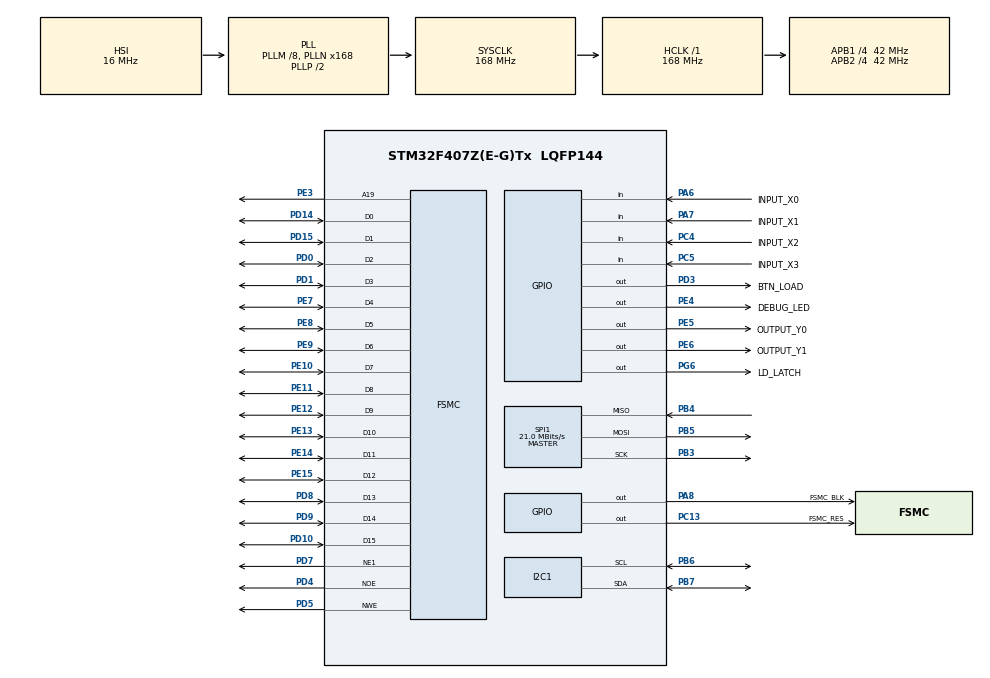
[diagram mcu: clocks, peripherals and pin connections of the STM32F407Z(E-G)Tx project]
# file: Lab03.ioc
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FSMC.AddressSetupTime1=0xf
FSMC.BusTurnAroundDuration1=0
FSMC.DataSetupTime1=60
FSMC.ExtendedAddressSetupTime1=8
FSMC.ExtendedBusTurnAroundDuration1=0
FSMC.ExtendedDataSetupTime1=9
FSMC.ExtendedMode1=FSMC_EXTENDED_MODE_ENABLE
Mcu.Family=STM32F4
Mcu.Name=STM32F407Z(E-G)Tx
Mcu.Package=LQFP144
NVIC.PriorityGroup=NVIC_PRIORITYGROUP_4
NVIC.TIM2_IRQn=true\:0\:0\:false\:false\:true\:true\:true
PA13.Mode=Serial_Wire
PA13.Signal=SYS_JTMS-SWDIO
PA14.Mode=Serial_Wire
PA14.Signal=SYS_JTCK-SWCLK
PA6.GPIO_Label=INPUT_X0
PA6.Signal=GPIO_Input
PA7.GPIO_Label=INPUT_X1
PA7.Signal=GPIO_Input
PA8.GPIO_Label=FSMC_BLK
PA8.Signal=GPIO_Output
PB3.Mode=Full_Duplex_Master
PB3.Signal=SPI1_SCK
PB4.Mode=Full_Duplex_Master
PB4.Signal=SPI1_MISO
PB5.Mode=Full_Duplex_Master
PB5.Signal=SPI1_MOSI
PB6.Mode=I2C
PB6.Signal=I2C1_SCL
PB7.Mode=I2C
PB7.Signal=I2C1_SDA
PC13-ANTI_TAMP.GPIO_Label=FSMC_RES
PC13-ANTI_TAMP.Signal=GPIO_Output
PC4.GPIO_Label=INPUT_X2
PC4.Signal=GPIO_Input
PC5.GPIO_Label=INPUT_X3
PC5.Signal=GPIO_Input
PD0.Signal=FSMC_D2_DA2
PD1.Signal=FSMC_D3_DA3
PD10.Signal=FSMC_D15_DA15
PD14.Signal=FSMC_D0_DA0
PD15.Signal=FSMC_D1_DA1
PD3.GPIO_Label=BTN_LOAD
PD3.Signal=GPIO_Output
PD4.Signal=FSMC_NOE
PD5.Signal=FSMC_NWE
PD7.Mode=NorPsramChipSelect1_1
PD7.Signal=FSMC_NE1
PD8.Signal=FSMC_D13_DA13
PD9.Signal=FSMC_D14_DA14
PE10.Signal=FSMC_D7_DA7
PE11.Signal=FSMC_D8_DA8
PE12.Signal=FSMC_D9_DA9
PE13.Signal=FSMC_D10_DA10
PE14.Signal=FSMC_D11_DA11
PE15.Signal=FSMC_D12_DA12
PE3.Signal=FSMC_A19
PE4.GPIO_Label=DEBUG_LED
PE4.Signal=GPIO_Output
PE5.GPIO_Label=OUTPUT_Y0
PE5.Signal=GPIO_Output
PE6.GPIO_Label=OUTPUT_Y1
PE6.Signal=GPIO_Output
PE7.Signal=FSMC_D4_DA4
PE8.Signal=FSMC_D5_DA5
PE9.Signal=FSMC_D6_DA6
PG6.GPIO_Label=LD_LATCH
PG6.Signal=GPIO_Output
PH0-OSC_IN.Mode=HSE-External-Oscillator
PH0-OSC_IN.Signal=RCC_OSC_IN
PH1-OSC_OUT.Mode=HSE-External-Oscillator
PH1-OSC_OUT.Signal=RCC_OSC_OUT
ProjectManager.HeapSize=0x200
ProjectManager.StackSize=0x400
ProjectManager.TargetToolchain=STM32CubeIDE
RCC.48MHZClocksFreq_Value=84000000
RCC.AHBFreq_Value=168000000
RCC.APB1CLKDivider=RCC_HCLK_DIV4
RCC.APB1Freq_Value=42000000
RCC.APB1TimFreq_Value=84000000
RCC.APB2CLKDivider=RCC_HCLK_DIV4
RCC.APB2Freq_Value=42000000
RCC.APB2TimFreq_Value=84000000
RCC.CortexFreq_Value=168000000
RCC.HCLKFreq_Value=168000000
RCC.HSE_VALUE=8000000
RCC.HSI_VALUE=16000000
RCC.LSE_VALUE=32768
RCC.PLLM=8
RCC.PLLN=168
RCC.SYSCLKFreq_VALUE=168000000
RCC.SYSCLKSource=RCC_SYSCLKSOURCE_PLLCLK
RCC.VCOOutputFreq_Value=336000000
SH.FSMC_A19.0=FSMC_A19,A19_1
SH.FSMC_D0_DA0.0=FSMC_D0,16b-d1
SH.FSMC_D10_DA10.0=FSMC_D10,16b-d1
SH.FSMC_D11_DA11.0=FSMC_D11,16b-d1
SH.FSMC_D12_DA12.0=FSMC_D12,16b-d1
SH.FSMC_D13_DA13.0=FSMC_D13,16b-d1
SH.FSMC_D14_DA14.0=FSMC_D14,16b-d1
SH.FSMC_D15_DA15.0=FSMC_D15,16b-d1
SH.FSMC_D1_DA1.0=FSMC_D1,16b-d1
SH.FSMC_D2_DA2.0=FSMC_D2,16b-d1
SH.FSMC_D3_DA3.0=FSMC_D3,16b-d1
SH.FSMC_D4_DA4.0=FSMC_D4,16b-d1
SH.FSMC_D5_DA5.0=FSMC_D5,16b-d1
SH.FSMC_D6_DA6.0=FSMC_D6,16b-d1
SH.FSMC_D7_DA7.0=FSMC_D7,16b-d1
SH.FSMC_D8_DA8.0=FSMC_D8,16b-d1
SH.FSMC_D9_DA9.0=FSMC_D9,16b-d1
SH.FSMC_NOE.0=FSMC_NOE,Lcd1
SH.FSMC_NWE.0=FSMC_NWE,Lcd1
SPI1.CalculateBaudRate=21.0 MBits/s
SPI1.Direction=SPI_DIRECTION_2LINES
SPI1.Mode=SPI_MODE_MASTER
SPI1.VirtualType=VM_MASTER
TIM2.Period=100-1
TIM2.Prescaler=840-1
VP_TIM2_VS_ClockSourceINT.Mode=Internal
board=custom

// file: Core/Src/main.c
/* USER CODE BEGIN Header */
/**
  ******************************************************************************
  * @file           : main.c
  * @brief          : Main program body
  ******************************************************************************
  * @attention
  *
  * <h2><center>&copy; Copyright (c) 2024 STMicroelectronics.
  * All rights reserved.</center></h2>
  *
  * This software component is licensed by ST under BSD 3-Clause license,
  * the "License"; You may not use this file except in compliance with the
  * License. You may obtain a copy of the License at:
  *                        opensource.org/licenses/BSD-3-Clause
  *
  ******************************************************************************
  */
/* USER CODE END Header */
#include "main.h"
#include "i2c.h"
#include "spi.h"
#include "tim.h"
#include "gpio.h"
#include "fsmc.h"

/* USER CODE BEGIN Includes */
#include "timer.h"
#include "button.h"
#include "lcd.h"
#include "picture.h"
/* USER CODE END Includes */

void SystemClock_Config(void);
/* USER CODE BEGIN PFP */
void system_init();
/* USER CODE END PFP */

int main(void)
{

  /* MCU Configuration--------------------------------------------------------*/

  /* Reset of all peripherals, Initializes the Flash interface and the Systick. */
  HAL_Init();

  /* Configure the system clock */
  SystemClock_Config();

  /* Initialize all configured peripherals */
  MX_GPIO_Init();
  MX_FSMC_Init();
  MX_TIM2_Init();
  MX_SPI1_Init();
  MX_I2C1_Init();
  /* USER CODE BEGIN 2 */
  system_init();
  /* USER CODE END 2 */

  /* Infinite loop */
  while (1)
  {

    /* USER CODE BEGIN 3 */
	if (timer_flag[3] == 1) {
	  setTimer(3, DEBUG_LED_TIME);
	  HAL_GPIO_TogglePin(DEBUG_LED_GPIO_Port, DEBUG_LED_Pin);
	}

	if (timer_flag[2] == 1) {
	  setTimer(2, BUTTON_READING_TIME);
	  button_Scan();
	}
    controlTrafficLight();
  }
  /* USER CODE END 3 */
}

void SystemClock_Config(void)
{
  RCC_OscInitTypeDef RCC_OscInitStruct = {0};
  RCC_ClkInitTypeDef RCC_ClkInitStruct = {0};

  /** Configure the main internal regulator output voltage
  */
  __HAL_RCC_PWR_CLK_ENABLE();
  __HAL_PWR_VOLTAGESCALING_CONFIG(PWR_REGULATOR_VOLTAGE_SCALE1);
  /** Initializes the RCC Oscillators according to the specified parameters
  * in the RCC_OscInitTypeDef structure.
  */
  RCC_OscInitStruct.OscillatorType = RCC_OSCILLATORTYPE_HSI;
  RCC_OscInitStruct.HSIState = RCC_HSI_ON;
  RCC_OscInitStruct.HSICalibrationValue = RCC_HSICALIBRATION_DEFAULT;
  RCC_OscInitStruct.PLL.PLLState = RCC_PLL_ON;
  RCC_OscInitStruct.PLL.PLLSource = RCC_PLLSOURCE_HSI;
  RCC_OscInitStruct.PLL.PLLM = 8;
  RCC_OscInitStruct.PLL.PLLN = 168;
  RCC_OscInitStruct.PLL.PLLP = RCC_PLLP_DIV2;
  RCC_OscInitStruct.PLL.PLLQ = 4;
  if (HAL_RCC_OscConfig(&RCC_OscInitStruct) != HAL_OK)
  {
    Error_Handler();
  }
  /** Initializes the CPU, AHB and APB buses clocks
  */
  RCC_ClkInitStruct.ClockType = RCC_CLOCKTYPE_HCLK|RCC_CLOCKTYPE_SYSCLK
                              |RCC_CLOCKTYPE_PCLK1|RCC_CLOCKTYPE_PCLK2;
  RCC_ClkInitStruct.SYSCLKSource = RCC_SYSCLKSOURCE_PLLCLK;
  RCC_ClkInitStruct.AHBCLKDivider = RCC_SYSCLK_DIV1;
  RCC_ClkInitStruct.APB1CLKDivider = RCC_HCLK_DIV4;
  RCC_ClkInitStruct.APB2CLKDivider = RCC_HCLK_DIV4;

  if (HAL_RCC_ClockConfig(&RCC_ClkInitStruct, FLASH_LATENCY_5) != HAL_OK)
  {
    Error_Handler();
  }
}

/* USER CODE BEGIN 4 */
void system_init() {
	initTimer();
	button_init();
	lcd_init();
}
/* USER CODE END 4 */

void Error_Handler(void)
{
  __disable_irq();
  while (1)
  {
  }
}

/************************ (C) COPYRIGHT STMicroelectronics *****END OF FILE****/
